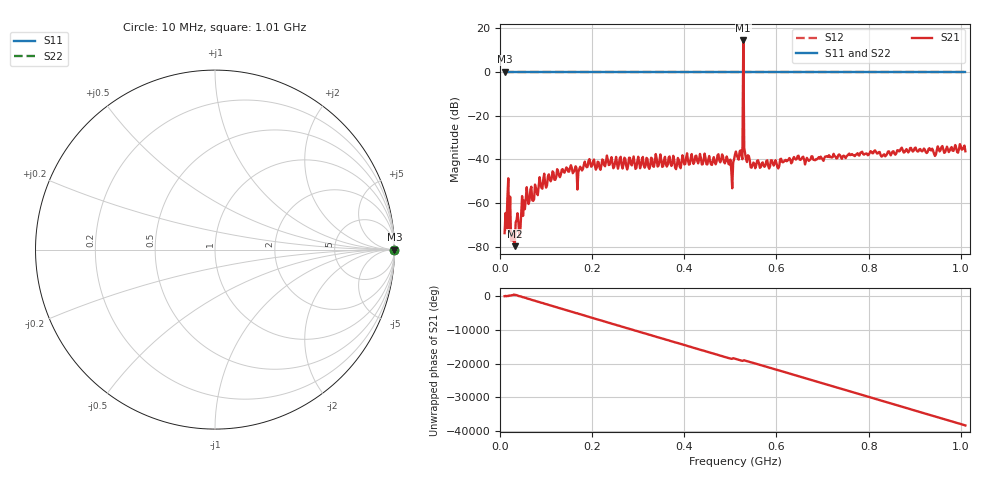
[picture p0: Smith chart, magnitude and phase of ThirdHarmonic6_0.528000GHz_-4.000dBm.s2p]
! 8/15/2025 4:22:13 PM
! C:\ANRITSUVNA\TEMP\TEMP.S2P
! CHANNEL.1
! TR.MEASUREMENT
! RAW.DATA
! RF.CORRECTION.OFF
! AVERAGING.OFF
! IF.BANDWIDTH: 5KHZ
! SWEEPTYPE:  FREQ.SWEEP(Linear)
! Reference Plane Port Info
! PORT:  PORT1  PORT2
! DISTANCE:  0  m  0  m
! TIME:  0  s  0  s
! PHASE.OFFSET:  0  deg.  0  deg.
! LOSS:  0  dB  0  dB
! REF.LOSS:  0  dB  0  dB
! REF.FREQ:  0  Hz  0  Hz
! Power Info
! POWER:  -20  dBm  -20  dBm
! EFF.POWER:  -20  dBm  -20  dBm
! SOURCE.ATTEN:  0  dB  0  dB
! TEST.ATTEN:  0  dB  0  dB
# GHZ S RI R 50.0
! FREQ.GHZ  S11RE  S11IM  S21RE  S21IM  S12RE  S12IM  S22RE  S22IM
!; PortSelection: Port_12
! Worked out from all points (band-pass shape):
!   501 points, 10 MHz to 1.01 GHz, reference 50 ohm
!   highest |S21| = 14.30 dB at 528 MHz (marker M1); lowest = -79.6 dB at 32 MHz (marker M2)
!   |S21| within 3 dB of the highest: 527.8893 MHz to 528.1222 MHz (232.9 kHz wide, 0.0441 % of centre)
!   lowest |S11| = 0.0 dB at 10 MHz (marker M3)
!   |S11| at or under -10 dB: nowhere
!   |S22| runs from 0.0 to 0.0 dB; largest |S21 - S12| = 4.3
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0.01  1 0  7.34e-05 -0.000194  1 0  1 0
0.014  1 0  1.3e-06 -0.000252  1 0  1 0
0.018  1 0  0.00332 -0.00166  1 0  1 0
0.028  1 0  -7.94e-05 -0.000115  1 0  1 0
0.032  1 0  1.7e-06 -0.000105  1 0  1 0
0.056  1 0  -0.00106 0.00065  1 0  1 0
0.09  1 0  -0.0018 0.00133  1 0  1 0
0.178  1 0  -0.00556 -0.000547  1 0  1 0
0.344  1 0  0.00689 -0.00184  1 0  1 0
0.478  1 0  0.00855 0.000808  1 0  1 0
0.496  1 0  0.00785 1.73e-05  1 0  1 0
0.5  1 0  -0.00698 -0.007  1 0  1 0
0.51  1 0  -0.013 0.000607  1 0  1 0
0.522  1 0  0.014 0.00784  1 0  1 0
0.524  1 0  0.00626 -0.0112  1 0  1 0
0.528  1 0  4.784 -2.008  1 0  1 0
0.532  1 0  0.0118 -0.00694  1 0  1 0
0.534  1 0  -0.00467 -0.00901  1 0  1 0
0.55  1 0  0.00817 -0.00233  1 0  1 0
0.678  1 0  0.000109 -0.0117  1 0  1 0
0.844  1 0  0.00169 0.0152  1 0  1 0
1.01  1 0  -0.00723 -0.0135  1 0  1 0
